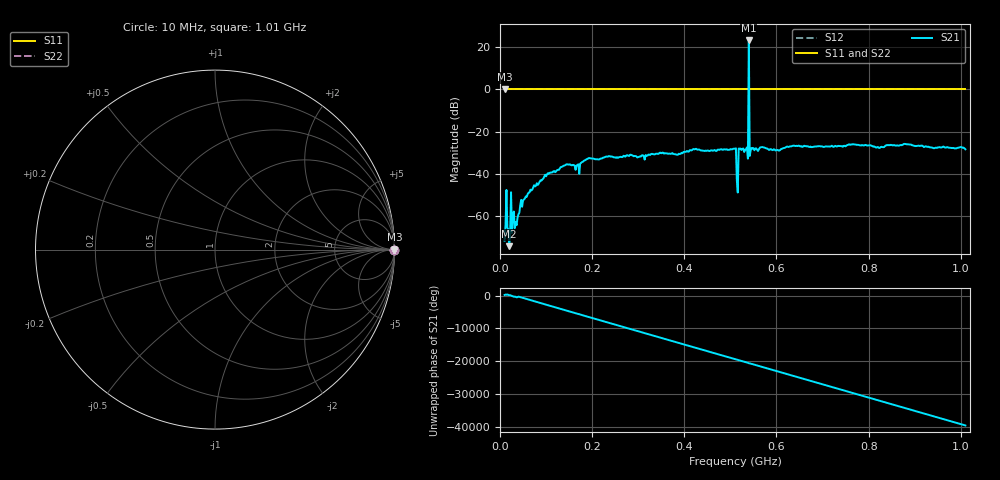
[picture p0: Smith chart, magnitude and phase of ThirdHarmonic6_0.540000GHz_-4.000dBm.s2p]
! 8/15/2025 4:56:24 PM
! C:\ANRITSUVNA\TEMP\TEMP.S2P
! CHANNEL.1
! TR.MEASUREMENT
! RAW.DATA
! RF.CORRECTION.OFF
! AVERAGING.OFF
! IF.BANDWIDTH: 5KHZ
! SWEEPTYPE:  FREQ.SWEEP(Linear)
! Reference Plane Port Info
! PORT:  PORT1  PORT2
! DISTANCE:  0  m  0  m
! TIME:  0  s  0  s
! PHASE.OFFSET:  0  deg.  0  deg.
! LOSS:  0  dB  0  dB
! REF.LOSS:  0  dB  0  dB
! REF.FREQ:  0  Hz  0  Hz
! Power Info
! POWER:  -20  dBm  -20  dBm
! EFF.POWER:  -20  dBm  -20  dBm
! SOURCE.ATTEN:  0  dB  0  dB
! TEST.ATTEN:  0  dB  0  dB
# GHZ S RI R 50.0
! FREQ.GHZ  S11RE  S11IM  S21RE  S21IM  S12RE  S12IM  S22RE  S22IM
!; PortSelection: Port_12
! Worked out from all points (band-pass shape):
!   501 points, 10 MHz to 1.01 GHz, reference 50 ohm
!   highest |S21| = 23.12 dB at 540 MHz (marker M1); lowest = -74.0 dB at 20 MHz (marker M2)
!   |S21| within 3 dB of the highest: 539.8925 MHz to 540.11 MHz (217.5 kHz wide, 0.0403 % of centre)
!   lowest |S11| = 0.0 dB at 10 MHz (marker M3)
!   |S11| at or under -10 dB: nowhere
!   |S22| runs from 0.0 to 0.0 dB; largest |S21 - S12| = 14
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0.01  1 0  -0.000265 4.17e-05  1 0  1 0
0.02  1 0  -4.69e-05 0.000193  1 0  1 0
0.028  1 0  -0.000544 0.00097  1 0  1 0
0.03  1 0  0.00131 -6.03e-05  1 0  1 0
0.036  1 0  -0.000612 -7.57e-05  1 0  1 0
0.048  1 0  0.000572 0.00159  1 0  1 0
0.1  1 0  -0.00302 0.00833  1 0  1 0
0.178  1 0  -0.019 -0.00296  1 0  1 0
0.344  1 0  0.0281 -0.0108  1 0  1 0
0.508  1 0  -0.0282 -0.0281  1 0  1 0
0.51  1 0  -0.0324 0.0228  1 0  1 0
0.512  1 0  0.0171 0.0368  1 0  1 0
0.518  1 0  -0.0399 -0.00206  1 0  1 0
0.522  1 0  0.0374 0.0143  1 0  1 0
0.534  1 0  -0.00715 -0.0383  1 0  1 0
0.536  1 0  -0.0427 0.00135  1 0  1 0
0.54  1 0  9.791 -10.46  1 0  1 0
0.544  1 0  -0.0284 -0.0224  1 0  1 0
0.546  1 0  -0.0304 0.0281  1 0  1 0
0.678  1 0  -0.0304 -0.0313  1 0  1 0
0.844  1 0  0.0445 0.0194  1 0  1 0
1.01  1 0  -0.0381 0.0056  1 0  1 0
